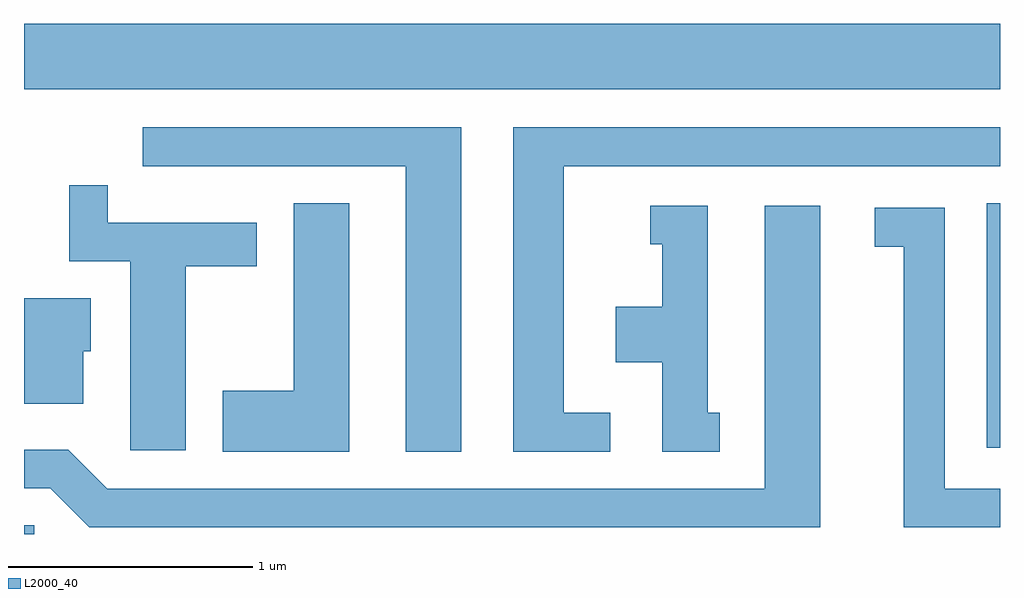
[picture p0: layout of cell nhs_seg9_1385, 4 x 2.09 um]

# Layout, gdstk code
import gdstk
lib = gdstk.Library(unit=1e-6, precision=1e-09)
def R(c, l, rs):  # rectangles x0, y0, x1, y1
    for r in rs: c.add(gdstk.rectangle(r[:2], r[2:], *l))
def P(c, l, *ps):  # polygons
    for p in ps: c.add(gdstk.Polygon(p, *l))
L2000_40 = (2000, 40)

nhs_seg9_1385 = lib.new_cell('nhs_seg9_1385')
R(nhs_seg9_1385, L2000_40, [(225.611,1994.432,225.654,1994.469), (229.556,1994.786,229.611,1995.789), (225.611,1996.256,229.611,1996.524)])
P(nhs_seg9_1385, L2000_40, [(228.013,1994.929),(227.824,1994.929),(227.824,1995.941),(229.611,1995.941),(229.611,1996.099),(227.616,1996.099),(227.616,1994.771),(228.013,1994.771)],
  [(227.404,1996.099),(226.098,1996.099),(226.098,1995.941),(227.176,1995.941),(227.176,1994.771),(227.404,1994.771)],
  [(226.274,1995.531),(226.564,1995.531),(226.564,1995.709),(225.954,1995.709),(225.954,1995.863),(225.796,1995.863),(225.796,1995.551),(226.046,1995.551),(226.046,1994.776),(226.274,1994.776)],
  [(226.944,1995.789),(226.716,1995.789),(226.716,1995.019),(226.426,1995.019),(226.426,1994.771),(226.944,1994.771)],
  [(228.874,1995.779),(228.646,1995.779),(228.646,1994.619),(225.952,1994.619),(225.792,1994.779),(225.611,1994.779),(225.611,1994.621),(225.719,1994.621),(225.879,1994.461),(228.874,1994.461)],
  [(228.463,1994.929),(228.414,1994.929),(228.414,1995.779),(228.178,1995.779),(228.178,1995.621),(228.226,1995.621),(228.226,1995.364),(228.036,1995.364),(228.036,1995.136),(228.226,1995.136),(228.226,1994.771),(228.463,1994.771)],
  [(229.611,1994.619),(229.384,1994.619),(229.384,1995.769),(229.098,1995.769),(229.098,1995.611),(229.216,1995.611),(229.216,1994.461),(229.611,1994.461)],
  [(225.854,1995.181),(225.884,1995.181),(225.884,1995.399),(225.611,1995.399),(225.611,1994.966),(225.854,1994.966)])

lib.write_gds('nhs_seg9_1385.gds')
